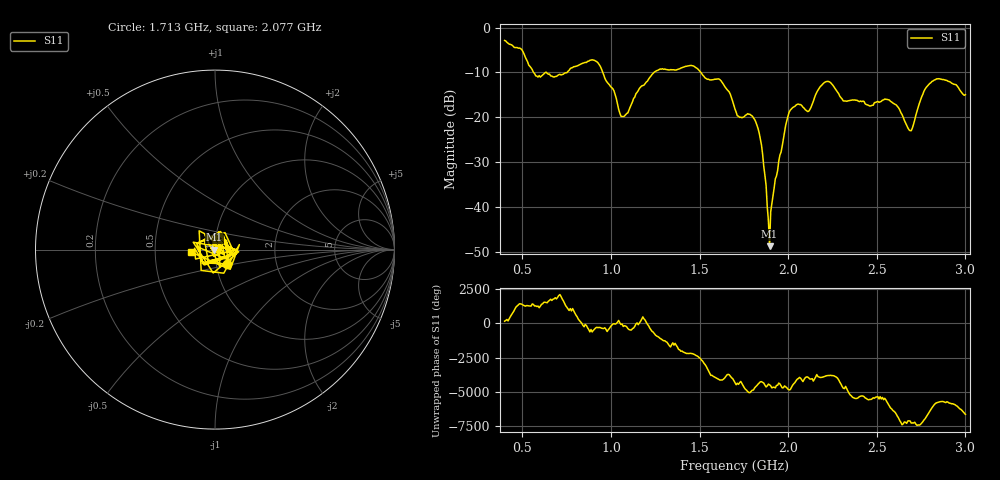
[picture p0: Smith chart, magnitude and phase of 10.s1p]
!Created with skrf (http://scikit-rf.org).
# Hz S RI R 50.0
!freq ReS11 ImS11
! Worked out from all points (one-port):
!   401 points, 400 MHz to 3 GHz, reference 50 ohm
!   lowest |S11| = -48.7 dB at 1.895 GHz (marker M1), VSWR 1.01, Z = 49.6 - j0.105 ohm
!   |S11| at or under -10 dB: 635.4 MHz to 752.7 MHz (117.2 MHz wide, 16.9 % of centre); 954.1 MHz to 1.243 GHz (289.3 MHz wide, 26.3 % of centre); 1.507 GHz to end of sweep (the widest 3 of 4)
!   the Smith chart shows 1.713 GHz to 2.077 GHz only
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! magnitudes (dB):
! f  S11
! 400 MHz  -2.9
! 497.5 MHz  -5.0
! 588.5 MHz  -11.0
! 725 MHz  -10.5
! 913.5 MHz  -7.5
! 1.011 GHz  -13.7
! 1.05 GHz  -19.1
! 1.083 GHz  -19.4
! 1.245 GHz  -9.9
! 1.375 GHz  -9.3
! 1.46 GHz  -8.5
! 1.615 GHz  -11.6
! 1.7 GHz  -18.2
! 1.823 GHz  -21.7
! 1.849 GHz  -26.2
! 1.882 GHz  -39.9
! 1.895 GHz  -48.7
! 1.986 GHz  -21.8
! 2.025 GHz  -17.9
! 2.116 GHz  -18.7
! 2.22 GHz  -12.0
! 2.35 GHz  -16.2
! 2.564 GHz  -16.1
! 2.675 GHz  -22.3
! 2.701 GHz  -22.4
! 2.766 GHz  -14.2
! 2.825 GHz  -11.7
! 3 GHz  -15.0
